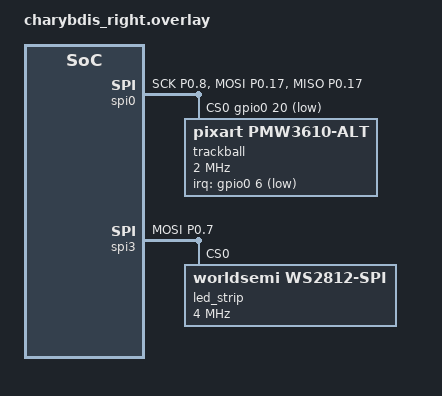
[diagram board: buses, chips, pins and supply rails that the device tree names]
/*
 * Copyright (c) 2020 ZMK Contributors
 *
 * SPDX-License-Identifier: MIT
 */

#include "charybdis.dtsi"

#define INPUT_EV_REL 0x02
#define INPUT_REL_X 0x00
#define INPUT_REL_Y 0x01
#define INPUT_REL_WHEEL 0x08
#define INPUT_REL_MISC 0x09

&default_transform {
    col-offset = <6>;
}; 

&kscan0 {
	col-gpios
		= <&gpio0 2 GPIO_ACTIVE_HIGH>
		, <&gpio0 29 GPIO_ACTIVE_HIGH>
		, <&gpio0 9 GPIO_ACTIVE_HIGH>
		, <&gpio1 0  GPIO_ACTIVE_HIGH>
		, <&gpio0 11 GPIO_ACTIVE_HIGH>
		, <&gpio1 4  GPIO_ACTIVE_HIGH>
		;
};

// trackball
&pinctrl {
    spi0_default: spi0_default {
        group1 {
            psels = <NRF_PSEL(SPIM_SCK, 0, 8)>,
                <NRF_PSEL(SPIM_MOSI, 0, 17)>,
                <NRF_PSEL(SPIM_MISO, 0, 17)>;
        };
    };

    spi0_sleep: spi0_sleep {
        group1 {
            psels = <NRF_PSEL(SPIM_SCK, 0, 8)>,
                <NRF_PSEL(SPIM_MOSI, 0, 17)>,
                <NRF_PSEL(SPIM_MISO, 0, 17)>;
            low-power-enable;
        };
    };
};

&spi0 {
    status = "okay";
    compatible = "nordic,nrf-spim";
    pinctrl-0 = <&spi0_default>;
    pinctrl-1 = <&spi0_sleep>;
    pinctrl-names = "default", "sleep";
    cs-gpios = <&gpio0 20 GPIO_ACTIVE_LOW>;

    trackball: trackball@0 {
        status = "okay";
        compatible = "pixart,pmw3610-alt";
        reg = <0>;
        spi-max-frequency = <2000000>;
        irq-gpios = <&gpio0 6 (GPIO_ACTIVE_LOW | GPIO_PULL_UP)>;
        cpi = <1200>;
        swap-xy;
        invert-x;
        invert-y;
        evt-type = <INPUT_EV_REL>;
        x-input-code = <INPUT_REL_X>;
        y-input-code = <INPUT_REL_Y>;
    };
};


//RGB bus
&pinctrl {
    spi3_default: spi3_default {
        group1 {
            psels = <NRF_PSEL(SPIM_MOSI, 0, 7)>;
        };
    };

    spi3_sleep: spi3_sleep {
        group1 {
            psels = <NRF_PSEL(SPIM_MOSI, 0, 7)>;
            low-power-enable;
        };
    };
};

&spi3 {
    compatible = "nordic,nrf-spim";
    status = "okay";

    pinctrl-0 = <&spi3_default>;
    pinctrl-1 = <&spi3_sleep>;
    pinctrl-names = "default", "sleep";

    led_strip: ws2812@0 {
        compatible = "worldsemi,ws2812-spi";

        /* SPI */
        reg = <0>; /* ignored, but necessary for SPI bindings */
        spi-max-frequency = <4000000>;

        /* WS2812 */
        chain-length = <27>; /* number of LEDs */
        spi-one-frame = <0x70>;
        spi-zero-frame = <0x40>;
        color-mapping = <LED_COLOR_ID_GREEN
                         LED_COLOR_ID_RED
                         LED_COLOR_ID_BLUE>;
    };
};



/* Include ZMK's built-in input processors */
#include <input/processors.dtsi>
#include <dt-bindings/zmk/input_transform.h>

/ {
    /* Trackball input listener with layer-specific overrides */
    trackball_listener: trackball_listener {
        compatible = "zmk,input-listener";
        device = <&trackball>;
        /* Base: normal cursor movement with automouse temp layer (1/4 compensates for 2x CPI) */
        input-processors = <&zip_xy_scaler 1 4 &zip_temp_layer 5 1000>;

        /* Scroll mode on layer 3 - 1/256 effective scaling (same ratio, 50% less dead zone) */
        scroll {
            layers = <3>;
            input-processors = <&zip_xy_scaler 1 16 &zip_xy_to_scroll_mapper &zip_scroll_scaler 1 16>;
        };

        /* Snipe mode on layer 4 - slower/more precise (1/6 compensates for 2x CPI) */
        snipe {
            layers = <4>;
            input-processors = <&zip_xy_scaler 1 6>;
        };
    };
};


